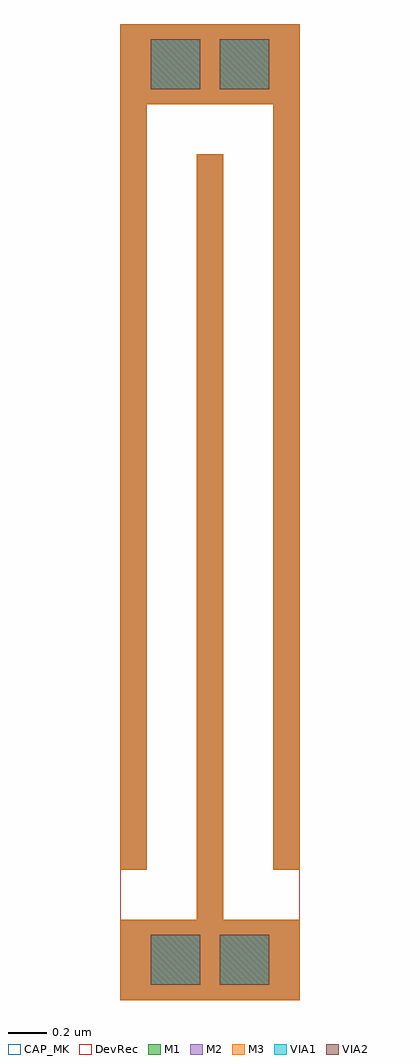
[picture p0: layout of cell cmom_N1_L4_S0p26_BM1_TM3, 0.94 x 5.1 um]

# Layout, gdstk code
import gdstk
lib = gdstk.Library(unit=1e-6, precision=1e-09)
def R(c, l, rs):  # rectangles x0, y0, x1, y1
    for r in rs: c.add(gdstk.rectangle(r[:2], r[2:], *l))
CAP_MK = (15, 0)
M1 = (41, 0)
VIA2 = (43, 0)
VIA1 = (44, 0)
M2 = (45, 0)
M3 = (49, 0)
DevRec = (68, 0)

bbox_gdsfactorypcomponen = lib.new_cell('bbox_gdsfactorypcomponentspshapespbbox_CUnnamed_21_LCAP_ebc6cd64')
R(bbox_gdsfactorypcomponen, CAP_MK, [(0,-0.42,0.94,4.68)])

rectangle_gdsfactorypcom = lib.new_cell('rectangle_gdsfactorypcomponentspshapesprectangle_S0p26__334dfe46')
R(rectangle_gdsfactorypcom, VIA1, [(0,0,0.26,0.26)])

c_rectangle_gdsfactorypcom = lib.new_cell('rectangle_gdsfactorypcomponentspshapesprectangle_S0p26__7fa59ffd')
R(c_rectangle_gdsfactorypcom, VIA2, [(0,0,0.26,0.26)])

c_bbox_gdsfactorypcomponen = lib.new_cell('bbox_gdsfactorypcomponentspshapespbbox_CUnnamed_21_LDEV_72bdbafc')
R(c_bbox_gdsfactorypcomponen, DevRec, [(0,-0.42,0.94,4.68)])

cmom_n1_l4_s0p26_bm1_tm3 = lib.new_cell('cmom_N1_L4_S0p26_BM1_TM3')
R(cmom_n1_l4_s0p26_bm1_tm3, M1, [(0,-0.42,0.94,0), (0.4,0,0.54,4), (0,0.26,0.14,4.26), (0.8,0.26,0.94,4.26), (0,4.26,0.94,4.68)])
R(cmom_n1_l4_s0p26_bm1_tm3, M2, [(0,-0.42,0.94,0), (0.4,0,0.54,4), (0,0.26,0.14,4.26), (0.8,0.26,0.94,4.26), (0,4.26,0.94,4.68)])
R(cmom_n1_l4_s0p26_bm1_tm3, M3, [(0,-0.42,0.94,0), (0.4,0,0.54,4), (0,0.26,0.14,4.26), (0.8,0.26,0.94,4.26), (0,4.26,0.94,4.68)])
cmom_n1_l4_s0p26_bm1_tm3.add(gdstk.Reference(bbox_gdsfactorypcomponen, (0,0)))
r = gdstk.Reference(rectangle_gdsfactorypcom, (0.16,4.34)); r.repetition = gdstk.Repetition(2, 1, v1=(0.36,0), v2=(0,0)); cmom_n1_l4_s0p26_bm1_tm3.add(r)
r = gdstk.Reference(rectangle_gdsfactorypcom, (0.16,-0.34)); r.repetition = gdstk.Repetition(2, 1, v1=(0.36,0), v2=(0,0)); cmom_n1_l4_s0p26_bm1_tm3.add(r)
r = gdstk.Reference(c_rectangle_gdsfactorypcom, (0.16,4.34)); r.repetition = gdstk.Repetition(2, 1, v1=(0.36,0), v2=(0,0)); cmom_n1_l4_s0p26_bm1_tm3.add(r)
r = gdstk.Reference(c_rectangle_gdsfactorypcom, (0.16,-0.34)); r.repetition = gdstk.Repetition(2, 1, v1=(0.36,0), v2=(0,0)); cmom_n1_l4_s0p26_bm1_tm3.add(r)
cmom_n1_l4_s0p26_bm1_tm3.add(gdstk.Reference(c_bbox_gdsfactorypcomponen, (0,0)))

lib.write_gds('cmom_N1_L4_S0p26_BM1_TM3.gds')
